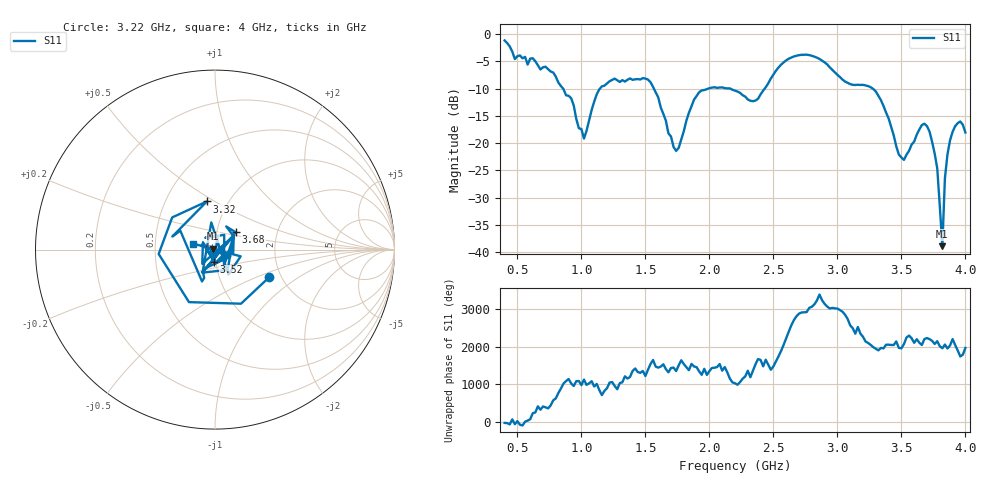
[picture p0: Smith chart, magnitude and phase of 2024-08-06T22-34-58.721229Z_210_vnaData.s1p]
!Created with skrf (http://scikit-rf.org).
# Hz S RI R 50.0
!freq ReS11 ImS11
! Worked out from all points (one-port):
!   181 points, 400 MHz to 4 GHz, reference 50 ohm
!   lowest |S11| = -38.9 dB at 3.82 GHz (marker M1), VSWR 1.02, Z = 49 + j0.477 ohm
!   |S11| at or under -10 dB: 857.5 MHz to 1.144 GHz (286.6 MHz wide, 28.6 % of centre); 1.567 GHz to 1.989 GHz (422.4 MHz wide, 23.8 % of centre); 3.277 GHz to end of sweep (the widest 3 of 4)
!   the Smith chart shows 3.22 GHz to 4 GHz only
!   S11 on the Smith chart (normalised r, x): 3.22 GHz: 1.73, -0.60; 3.32 GHz: 0.80, +0.46; 3.52 GHz: 0.98, -0.14; 3.68 GHz: 1.24, +0.24; 4 GHz: 0.78, +0.05
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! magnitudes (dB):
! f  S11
! 400 MHz  -1.1
! 480 MHz  -4.6
! 620 MHz  -4.4
! 860 MHz  -10.1
! 1.02 GHz  -19.2
! 1.14 GHz  -10.1
! 1.3 GHz  -8.8
! 1.54 GHz  -8.8
! 1.72 GHz  -20.7
! 1.76 GHz  -20.9
! 1.92 GHz  -10.6
! 2.2 GHz  -10.4
! 2.36 GHz  -12.2
! 2.66 GHz  -4.1
! 2.86 GHz  -4.5
! 3.1 GHz  -9.1
! 3.22 GHz  -9.4
! 3.32 GHz  -11.3
! 3.52 GHz  -23.1
! 3.56 GHz  -21.4
! 3.68 GHz  -16.4
! 3.72 GHz  -17.9
! 3.78 GHz  -24.6
! 3.82 GHz  -38.9
! 3.84 GHz  -26.4
! 3.88 GHz  -19.5
! 3.96 GHz  -16.0
! 4 GHz  -18.0
